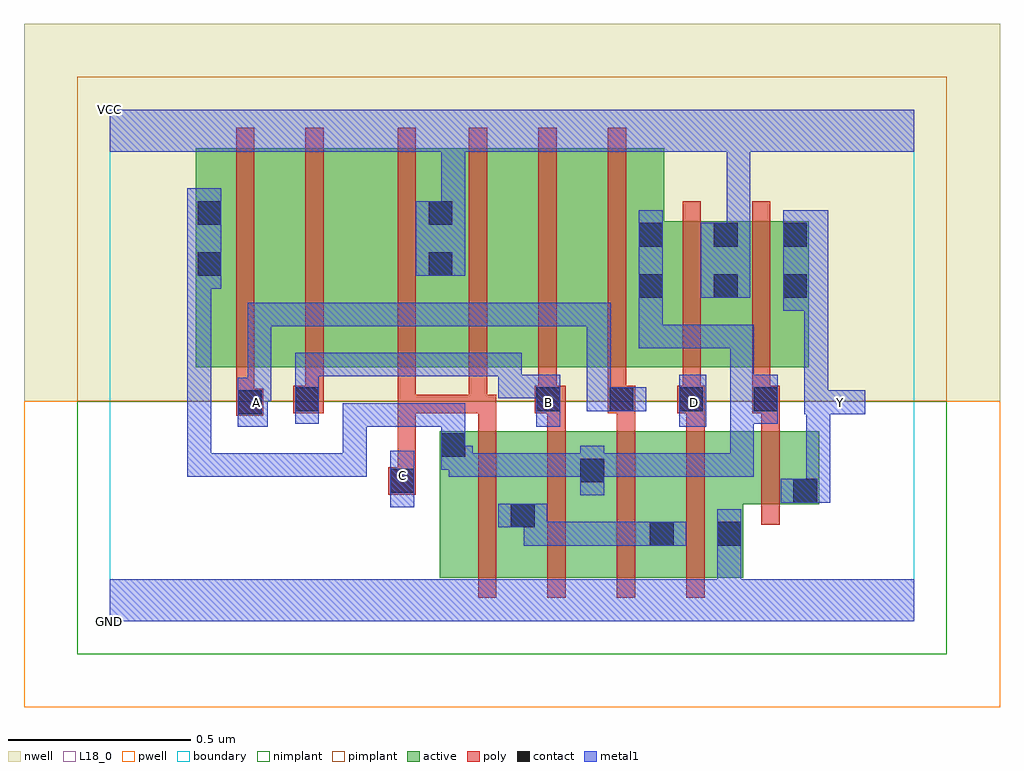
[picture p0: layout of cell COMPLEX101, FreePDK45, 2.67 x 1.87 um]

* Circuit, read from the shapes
.subckt COMPLEX101 A B C D GND VCC Y
M1 n1 C n2 VSUBS nfet w=0.4u l=0.05u
M2 n2 B n1 VSUBS nfet w=0.4u l=0.05u
M3 n1 A n2 VSUBS nfet w=0.4u l=0.05u
M4 GND D n1 VSUBS nfet w=0.4u l=0.05u
M5 Y n2 GND VSUBS nfet w=0.2u l=0.05u
M6 n3 A n2 n4 pfet w=0.6u l=0.05u
M7 n5 B n3 n4 pfet w=0.6u l=0.05u
M8 VCC C n5 n4 pfet w=0.6u l=0.05u
M9 n6 C VCC n4 pfet w=0.6u l=0.05u
M10 n7 B n6 n4 pfet w=0.6u l=0.05u
M11 n2 A n7 n4 pfet w=0.6u l=0.05u
M12 VCC D n2 n4 pfet w=0.4u l=0.05u
M13 Y n2 VCC n4 pfet w=0.4u l=0.05u
.ends

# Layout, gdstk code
import gdstk
lib = gdstk.Library(unit=1e-6, precision=1e-09)
def R(c, l, rs):  # rectangles x0, y0, x1, y1
    for r in rs: c.add(gdstk.rectangle(r[:2], r[2:], *l))
def A(c, l, x, y, w, h, nx, ny, dx, dy):  # array of equal rectangles
    R(c, l, [(x+i*dx, y+j*dy, x+i*dx+w, y+j*dy+h) for i in range(nx) for j in range(ny)])
active = (1, 0)
pwell = (2, 0)
nwell = (3, 0)
nimplant = (4, 0)
pimplant = (5, 0)
poly = (9, 0)
contact = (10, 0)
metal1 = (11, 0)
L18_0 = (18, 0)
boundary = (235, 0)

complex101 = lib.new_cell('COMPLEX101')
A(complex101, active, 0.902, 0.12, 0.265, 0.4, 3, 1, 0.19, 0)
A(complex101, active, 1.092, 0.147, 0.075, 0.345, 3, 1, 0.19, 0)
R(complex101, active, [(1.472,0.12,1.732,0.52), (1.657,0.12,1.732,0.52), (0.902,0.147,0.977,0.52), (1.657,0.32,1.94,0.52), (1.865,0.32,1.94,0.52), (0.235,0.695,0.465,1.295), (0.235,0.695,0.345,1.2), (0.465,0.695,0.717,1.295), (0.717,0.695,0.942,1.295), (0.867,0.695,1.102,1.295), (1.102,0.695,1.292,1.295), (1.292,0.695,1.517,1.295), (1.442,0.695,1.722,1.095), (1.647,0.695,1.912,1.095), (1.837,0.695,1.912,1.095), (0.867,0.707,0.942,1.257), (1.647,0.822,1.722,1.095), (1.442,0.88,1.517,1.2)])
R(complex101, pwell, [(-0.235,-0.235,2.435,0.602)])
R(complex101, nwell, [(-0.235,0.602,2.435,1.635)])
R(complex101, nimplant, [(-0.09,-0.09,2.29,0.602)])
R(complex101, pimplant, [(-0.09,0.602,2.29,1.49)])
A(complex101, poly, 1.007, 0.065, 0.05, 0.51, 4, 1, 0.19, 0)
A(complex101, poly, 1.007, 0.525, 0.05, 0.095, 4, 1, 0.19, 0)
A(complex101, poly, 0.982, 0.64, 0.05, 0.71, 3, 1, 0.19, 0)
R(complex101, poly, [(1.782,0.265,1.832,0.575), (0.762,0.347,0.837,0.422), (0.787,0.372,0.837,0.62), (1.782,0.525,1.832,0.62), (0.345,0.562,0.42,0.637), (0.502,0.57,0.585,0.645), (0.787,0.57,0.837,0.69), (0.787,0.57,1.032,0.62), (0.787,0.57,0.837,0.62), (0.787,0.57,0.837,0.62), (0.787,0.57,0.837,0.62), (0.787,0.57,0.837,0.62), (0.787,0.57,0.837,0.62), (0.982,0.57,1.032,0.69), (0.982,0.57,1.057,0.62), (1.162,0.57,1.247,0.645), (1.362,0.57,1.437,0.645), (1.552,0.57,1.627,0.645), (1.757,0.57,1.832,0.645), (0.345,0.587,0.395,0.69), (0.535,0.595,0.585,0.69), (1.172,0.595,1.222,0.69), (1.362,0.595,1.412,0.69), (1.567,0.595,1.617,0.69), (1.757,0.595,1.807,0.69), (0.345,0.64,0.395,1.35), (0.535,0.64,0.585,1.35), (0.787,0.64,0.837,1.35), (1.567,0.64,1.617,1.15), (1.757,0.64,1.807,1.15)])
R(complex101, contact, [(1.477,0.207,1.542,0.272), (1.662,0.207,1.727,0.272), (1.097,0.257,1.162,0.322), (1.87,0.325,1.935,0.39), (0.767,0.352,0.832,0.417), (1.287,0.38,1.352,0.445), (0.907,0.45,0.972,0.515), (0.35,0.567,0.415,0.632), (0.507,0.575,0.572,0.64), (1.167,0.575,1.232,0.64), (1.367,0.575,1.432,0.64), (1.557,0.575,1.622,0.64), (1.762,0.575,1.827,0.64), (1.447,0.885,1.512,0.95), (1.652,0.885,1.717,0.95), (1.842,0.885,1.907,0.95), (0.24,0.945,0.305,1.01), (0.872,0.945,0.937,1.01), (1.447,1.025,1.512,1.09), (1.652,1.025,1.717,1.09), (1.842,1.025,1.907,1.09), (0.24,1.085,0.305,1.15), (0.872,1.085,0.937,1.15)])
R(complex101, metal1, [(0,0,2.2,0.115), (1.662,0.05,1.727,0.237), (1.662,0.172,1.727,0.307), (1.132,0.207,1.37,0.272), (1.132,0.207,1.197,0.322), (1.305,0.207,1.37,0.272), (1.305,0.207,1.37,0.272), (1.305,0.207,1.37,0.272), (1.305,0.207,1.507,0.272), (1.442,0.207,1.577,0.272), (1.062,0.257,1.197,0.322), (1.132,0.257,1.197,0.322), (0.767,0.312,0.832,0.467), (1.835,0.325,1.97,0.39), (1.905,0.325,1.97,0.632), (1.287,0.345,1.352,0.48), (0.212,0.395,0.277,0.46), (0.212,0.395,0.435,0.46), (0.212,0.395,0.277,0.975), (0.37,0.395,0.435,0.46), (0.37,0.395,0.435,0.46), (0.37,0.395,0.435,0.46), (0.37,0.395,0.572,0.46), (0.507,0.395,0.572,0.46), (0.507,0.395,0.702,0.46), (0.637,0.395,0.702,0.597), (0.927,0.395,1.215,0.46), (0.927,0.395,0.992,0.48), (1.15,0.395,1.215,0.46), (1.15,0.395,1.215,0.46), (1.15,0.395,1.215,0.46), (1.15,0.395,1.352,0.46), (1.287,0.395,1.37,0.46), (1.305,0.395,1.37,0.46), (1.305,0.395,1.507,0.46), (1.442,0.395,1.507,0.46), (1.442,0.395,1.507,0.46), (1.442,0.395,1.507,0.46), (1.442,0.395,1.762,0.46), (1.697,0.395,1.762,0.46), (1.697,0.395,1.762,0.675), (0.907,0.415,0.992,0.48), (0.907,0.415,0.972,0.597), (0.35,0.532,0.432,0.667), (0.637,0.532,0.717,0.597), (0.652,0.532,0.717,0.597), (0.652,0.532,0.972,0.597), (1.167,0.532,1.232,0.675), (1.557,0.532,1.632,0.675), (0.507,0.54,0.572,0.735), (1.762,0.54,1.827,0.675), (1.9,0.567,1.965,0.915), (1.9,0.567,2.067,0.632), (1.305,0.575,1.37,0.64), (1.305,0.575,1.397,0.64), (1.305,0.575,1.37,0.872), (1.332,0.575,1.467,0.64), (0.367,0.602,0.442,0.667), (0.377,0.602,0.442,0.667), (0.377,0.602,0.442,0.872), (1.062,0.61,1.232,0.675), (1.062,0.61,1.127,0.735), (1.697,0.61,1.827,0.675), (1.697,0.61,1.762,0.675), (1.697,0.61,1.762,0.812), (0.507,0.67,0.717,0.735), (0.652,0.67,0.717,0.735), (0.652,0.67,0.717,0.735), (0.652,0.67,0.717,0.735), (0.652,0.67,0.99,0.735), (0.925,0.67,0.99,0.735), (0.925,0.67,0.992,0.735), (0.927,0.67,0.992,0.735), (0.927,0.67,1.127,0.735), (1.447,0.747,1.762,0.812), (1.447,0.747,1.512,0.915), (1.697,0.747,1.762,0.812), (0.377,0.807,0.442,0.872), (0.377,0.807,0.58,0.872), (0.515,0.807,0.58,0.872), (0.515,0.807,0.58,0.872), (0.515,0.807,0.58,0.872), (0.515,0.807,0.855,0.872), (0.79,0.807,0.855,0.872), (0.79,0.807,0.855,0.872), (0.79,0.807,0.855,0.872), (0.79,0.807,0.992,0.872), (0.927,0.807,0.992,0.872), (0.927,0.807,1.13,0.872), (1.065,0.807,1.13,0.872), (1.065,0.807,1.13,0.872), (1.065,0.807,1.13,0.872), (1.065,0.807,1.37,0.872), (1.305,0.807,1.37,0.872), (1.447,0.85,1.512,0.915), (1.447,0.85,1.512,1.125), (1.842,0.85,1.965,1.125), (1.617,0.885,1.752,1.09), (0.212,0.91,0.277,0.975), (0.212,0.91,0.277,0.975), (0.212,0.91,0.305,1.185), (0.837,0.945,0.972,1.15), (1.687,1.025,1.752,1.35), (0.907,1.085,0.972,1.35), (0,1.285,2.2,1.4), (1.687,1.285,1.752,1.35), (1.687,1.285,1.752,1.35)])
A(complex101, L18_0, 1.167, 0.567, 0.065, 0.065, 3, 1, 0.4, 0)
R(complex101, L18_0, [(0,0,2.2,0.115), (1.662,0.05,1.727,0.237), (1.662,0.172,1.727,0.307), (0.767,0.312,0.832,0.467), (1.835,0.325,1.97,0.39), (1.905,0.325,1.97,0.632), (0.767,0.367,0.832,0.432), (0.35,0.532,0.432,0.667), (1.167,0.532,1.232,0.675), (1.557,0.532,1.632,0.675), (0.507,0.54,0.572,0.735), (0.367,0.567,0.432,0.632), (1.9,0.567,2.067,0.632), (1.9,0.567,1.965,0.915), (1.305,0.575,1.37,0.64), (1.305,0.575,1.37,0.872), (1.305,0.575,1.397,0.64), (1.332,0.575,1.467,0.64), (0.367,0.602,0.442,0.667), (0.377,0.602,0.442,0.667), (0.377,0.602,0.442,0.872), (1.062,0.61,1.127,0.735), (1.062,0.61,1.232,0.675), (0.507,0.67,0.717,0.735), (0.652,0.67,0.717,0.735), (0.652,0.67,0.717,0.735), (0.652,0.67,0.717,0.735), (0.652,0.67,0.99,0.735), (0.925,0.67,0.99,0.735), (0.925,0.67,0.992,0.735), (0.927,0.67,0.992,0.735), (0.927,0.67,1.127,0.735), (0.377,0.807,0.442,0.872), (0.377,0.807,0.58,0.872), (0.515,0.807,0.58,0.872), (0.515,0.807,0.58,0.872), (0.515,0.807,0.58,0.872), (0.515,0.807,0.855,0.872), (0.79,0.807,0.855,0.872), (0.79,0.807,0.855,0.872), (0.79,0.807,0.855,0.872), (0.79,0.807,0.992,0.872), (0.927,0.807,0.992,0.872), (0.927,0.807,1.13,0.872), (1.065,0.807,1.13,0.872), (1.065,0.807,1.13,0.872), (1.065,0.807,1.13,0.872), (1.065,0.807,1.37,0.872), (1.305,0.807,1.37,0.872), (1.842,0.85,1.965,1.125), (1.617,0.885,1.752,1.09), (0.837,0.945,0.972,1.15), (1.687,1.025,1.752,1.35), (0.907,1.085,0.972,1.35), (0,1.285,2.2,1.4), (1.687,1.285,1.752,1.35), (1.687,1.285,1.752,1.35)])
R(complex101, boundary, [(0,0,2.2,1.4)])
complex101.add(gdstk.Label('A', (0.4,0.6), layer=11, texttype=0))
complex101.add(gdstk.Label('B', (1.2,0.6), layer=11, texttype=0))
complex101.add(gdstk.Label('C', (0.8,0.4), layer=11, texttype=0))
complex101.add(gdstk.Label('D', (1.6,0.6), layer=11, texttype=0))
complex101.add(gdstk.Label('Y', (2,0.6), layer=11, texttype=0))
complex101.add(gdstk.Label('VCC', (0,1.4), layer=11, texttype=0))
complex101.add(gdstk.Label('GND', (0,0), layer=11, texttype=0))

lib.write_gds('COMPLEX101.gds')
